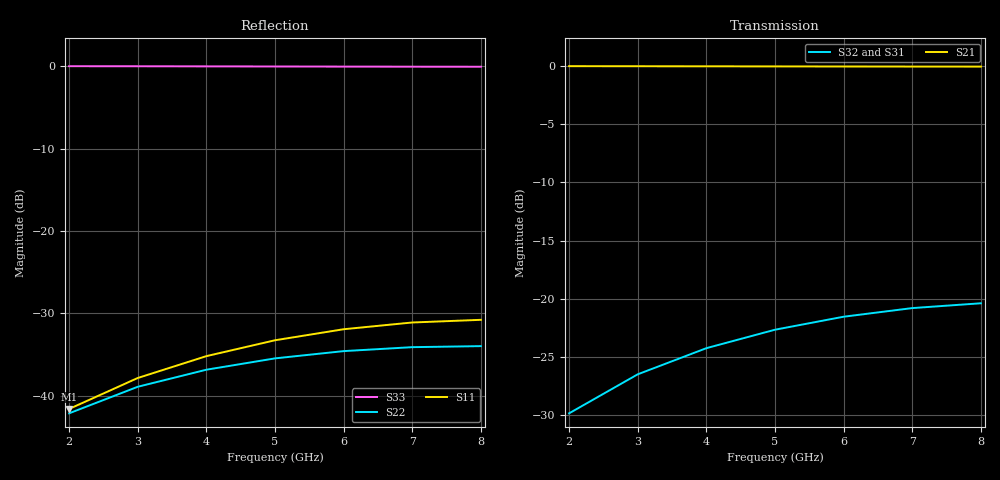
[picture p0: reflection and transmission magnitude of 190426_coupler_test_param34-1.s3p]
! Sonnet Data File
! From: emgraph Version : 16.56
! From Project: 190426_coupler_test
! Data is De-embedded
! Data File Written: 05/06/2019 15:59:44
!< HDATE 04/25/2019 10:48:44
!< MDATE 04/25/2019 10:59:35
!< PARAMS
!< tandelta = 0.0
!< t_aSi = 0.25
!< W = 10.0
!< Lcoupler = 3300.0
!< END PARAMS
# GHZ S MA R 50.0 !  non standard terminations in data
! TERM 50.00000 0.000000 50.00000 0.000000 63.84000 0.000000
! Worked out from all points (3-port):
!   7 points, 2 GHz to 8 GHz, reference 50 ohm
!   strongest paths, dB at 2 GHz, 3 GHz, 5 GHz, 7 GHz, 8 GHz:
!     S21: 0.0, 0.0, 0.0, 0.0, 0.0
!     S32: -29.9, -26.5, -22.7, -20.8, -20.4
!     S31: -29.9, -26.6, -22.8, -21.0, -20.6
!   lowest |S11| = -41.6 dB at 2 GHz (marker M1), VSWR 1.02, Z = 50.2 + j0.805 ohm
!   |S11| at or under -10 dB: start of sweep to end of sweep
2  0.008333 74.0  0.9995 -21.8  0.03201 43.3
   0.9995 -21.8  0.007841 69.0  0.03214 69.3
   0.03201 43.3  0.03214 69.3  0.999 -46.0
3  0.01284 64.2  0.9988 -32.6  0.04691 20.0
   0.9988 -32.6  0.01136 58.5  0.04729 58.8
   0.04691 20.0  0.04729 58.8  0.9978 -69.1
4  0.01742 52.9  0.998 -43.5  0.06046 -3.4
   0.998 -43.5  0.01441 48.0  0.06125 48.2
   0.06046 -3.4  0.06125 48.2  0.9963 -92.3
5  0.02174 40.3  0.9971 -54.3  0.07225 -26.9
   0.9971 -54.3  0.01689 37.6  0.07353 37.3
   0.07225 -26.9  0.07353 37.3  0.9947 -115.7
6  0.02537 26.7  0.9963 -65.1  0.08185 -50.4
   0.9963 -65.1  0.01869 27.3  0.08363 26.3
   0.08185 -50.4  0.08363 26.3  0.9931 -139.3
7  0.02787 12.3  0.9956 -75.9  0.08894 -73.9
   0.9956 -75.9  0.01975 17.0  0.09109 15.1
   0.08894 -73.9  0.09109 15.1  0.9919 -162.9
8  0.02893 -2.6  0.9952 -86.7  0.09323 -97.3
   0.9952 -86.7  0.02004 6.8  0.09554 3.9
   0.09323 -97.3  0.09554 3.9  0.991 173.4
